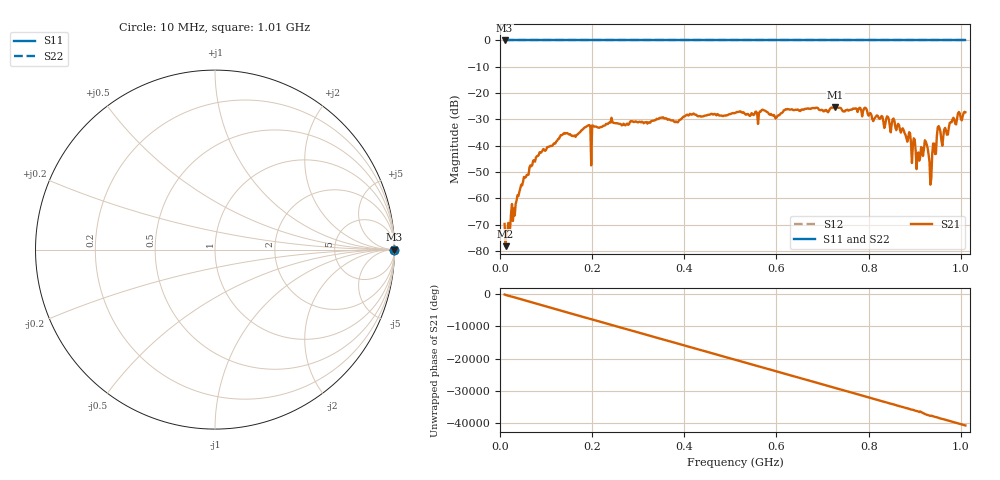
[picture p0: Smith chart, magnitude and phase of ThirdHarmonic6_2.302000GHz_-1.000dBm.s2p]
! 8/17/2025 3:08:09 AM
! C:\ANRITSUVNA\TEMP\TEMP.S2P
! CHANNEL.1
! TR.MEASUREMENT
! RAW.DATA
! RF.CORRECTION.OFF
! AVERAGING.OFF
! IF.BANDWIDTH: 5KHZ
! SWEEPTYPE:  FREQ.SWEEP(Linear)
! Reference Plane Port Info
! PORT:  PORT1  PORT2
! DISTANCE:  0  m  0  m
! TIME:  0  s  0  s
! PHASE.OFFSET:  0  deg.  0  deg.
! LOSS:  0  dB  0  dB
! REF.LOSS:  0  dB  0  dB
! REF.FREQ:  0  Hz  0  Hz
! Power Info
! POWER:  -20  dBm  -20  dBm
! EFF.POWER:  -20  dBm  -20  dBm
! SOURCE.ATTEN:  0  dB  0  dB
! TEST.ATTEN:  0  dB  0  dB
# GHZ S RI R 50.0
! FREQ.GHZ  S11RE  S11IM  S21RE  S21IM  S12RE  S12IM  S22RE  S22IM
!; PortSelection: Port_12
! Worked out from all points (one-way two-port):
!   501 points, 10 MHz to 1.01 GHz, reference 50 ohm
!   highest |S21| = -25.33 dB at 728 MHz (marker M1); lowest = -78.1 dB at 12 MHz (marker M2)
!   lowest |S11| = 0.0 dB at 10 MHz (marker M3)
!   |S11| at or under -10 dB: nowhere
!   |S22| runs from 0.0 to 0.0 dB; largest |S21 - S12| = 1.1
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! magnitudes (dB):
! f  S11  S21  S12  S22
! 10 MHz  0.0  -69.7  0.0  0.0
! 12 MHz  0.0  -78.1  0.0  0.0
! 16 MHz  0.0  -72.6  0.0  0.0
! 48 MHz  0.0  -55.0  0.0  0.0
! 82 MHz  0.0  -43.9  0.0  0.0
! 136 MHz  0.0  -35.7  0.0  0.0
! 178 MHz  0.0  -34.0  0.0  0.0
! 344 MHz  0.0  -29.8  0.0  0.0
! 510 MHz  0.0  -27.6  0.0  0.0
! 600 MHz  0.0  -29.3  0.0  0.0
! 678 MHz  0.0  -25.7  0.0  0.0
! 728 MHz  0.0  -25.3  0.0  0.0
! 792 MHz  0.0  -25.6  0.0  0.0
! 844 MHz  0.0  -30.0  0.0  0.0
! 888 MHz  0.0  -34.8  0.0  0.0
! 908 MHz  0.0  -42.5  0.0  0.0
! 924 MHz  0.0  -38.4  0.0  0.0
! 934 MHz  0.0  -54.7  0.0  0.0
! 952 MHz  0.0  -32.5  0.0  0.0
! 960 MHz  0.0  -40.0  0.0  0.0
! 980 MHz  0.0  -31.1  0.0  0.0
! 1.01 GHz  0.0  -27.3  0.0  0.0
